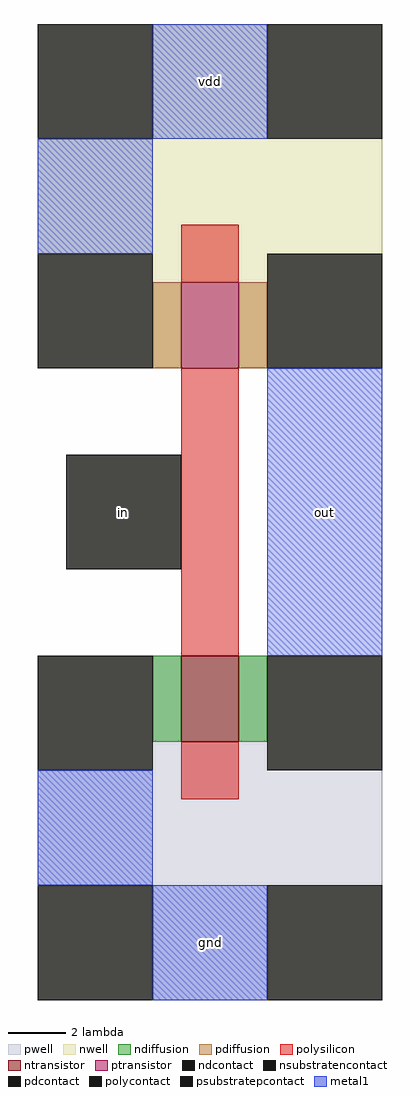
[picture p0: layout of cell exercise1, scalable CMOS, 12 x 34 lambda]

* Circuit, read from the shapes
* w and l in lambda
.subckt exercise1 gnd in out vdd
M1 out in gnd gnd nfet w=3 l=2
M2 out in vdd vdd pfet w=3 l=2
.ends

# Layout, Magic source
magic
tech scmos
<< pwell >>
rect -15 -15 -3 -3
<< nwell >>
rect -15 7 -3 19
<< polysilicon >>
rect -10 10 -8 12
rect -10 -3 -8 7
rect -10 -8 -8 -6
<< ndiffusion >>
rect -11 -6 -10 -3
rect -8 -6 -7 -3
<< pdiffusion >>
rect -11 7 -10 10
rect -8 7 -7 10
<< metal1 >>
rect -11 15 -7 19
rect -15 11 -11 15
rect -7 -3 -3 7
rect -15 -11 -11 -7
rect -11 -15 -7 -11
<< ntransistor >>
rect -10 -6 -8 -3
<< ptransistor >>
rect -10 7 -8 10
<< polycontact >>
rect -14 0 -10 4
<< ndcontact >>
rect -15 -7 -11 -3
rect -7 -7 -3 -3
<< pdcontact >>
rect -15 7 -11 11
rect -7 7 -3 11
<< psubstratepcontact >>
rect -15 -15 -11 -11
rect -7 -15 -3 -11
<< nsubstratencontact >>
rect -15 15 -11 19
rect -7 15 -3 19
<< labels >>
rlabel polycontact -14 0 -10 4 0 in
rlabel metal1 -7 0 -3 4 0 out
rlabel metal1 -11 15 -7 19 0 vdd
rlabel metal1 -11 -15 -7 -11 0 gnd
<< end >>
